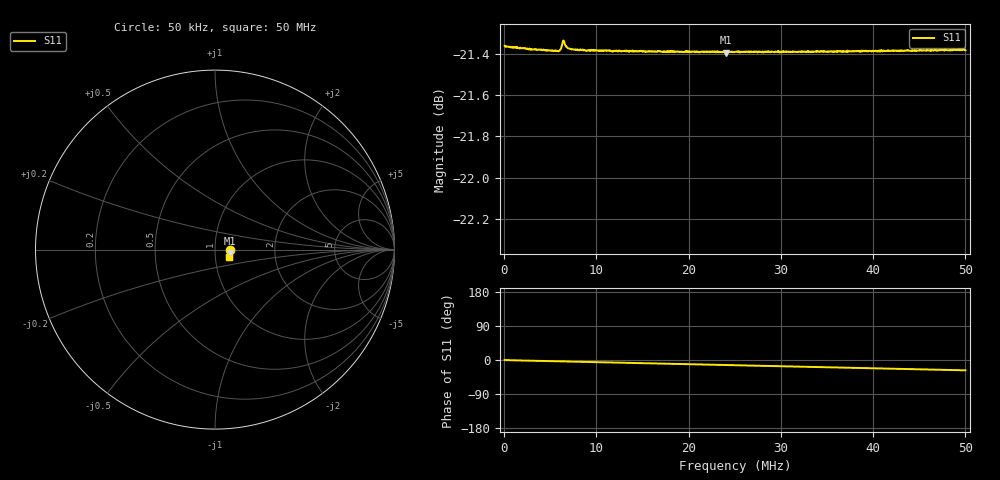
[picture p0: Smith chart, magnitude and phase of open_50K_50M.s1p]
# HZ S RI R 50
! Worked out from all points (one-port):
!   1010 points, 50 kHz to 50 MHz, reference 50 ohm
!   lowest |S11| = -21.4 dB at 24.06 MHz (marker M1), VSWR 1.19, Z = 59 - j2.32 ohm
!   |S11| at or under -10 dB: start of sweep to end of sweep
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50000  0.0855 0.000223
396528  0.0855 -0.000645
842064  0.0854 -0.00107
2871728  0.0853 -0.00276
5693456  0.0851 -0.00499
5841968  0.0851 -0.00509
5990480  0.0851 -0.00517
6089488  0.0852 -0.00524
6238000  0.0854 -0.00521
6337008  0.0855 -0.00523
6436016  0.0856 -0.00541
6535024  0.0855 -0.00561
6832048  0.0852 -0.00594
6931056  0.0852 -0.00601
7129072  0.0851 -0.00619
7574608  0.0851 -0.00653
9010224  0.0849 -0.00769
1.11389e7  0.0848 -0.0094
1.168344e7  0.0847 -0.00981
1.257451e7  0.0846 -0.0105
1.881202e7  0.0838 -0.0155
2.405944e7  0.0829 -0.0196
2.504952e7  0.0828 -0.0203
3.128702e7  0.0815 -0.0251
3.752453e7  0.0798 -0.0299
4.376203e7  0.078 -0.0346
4.9554e7  0.076 -0.0388
4.999954e7  0.0758 -0.0391
